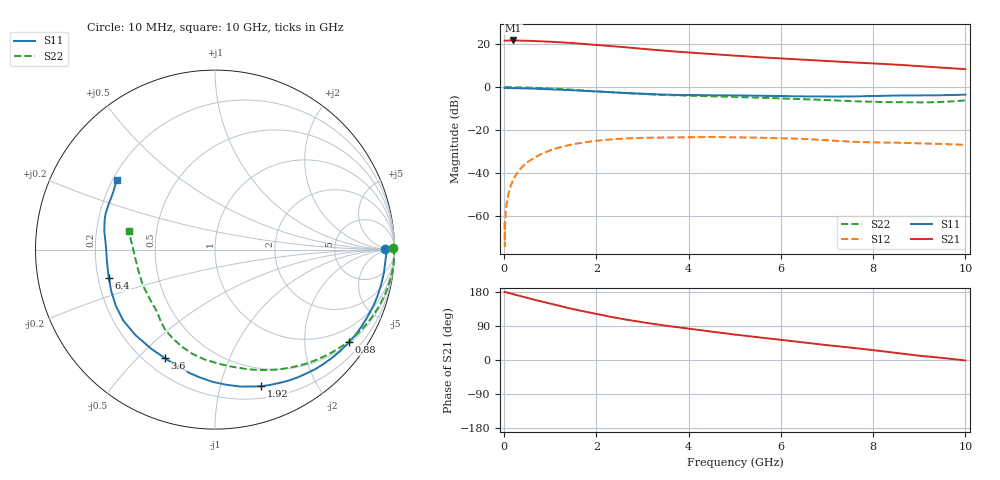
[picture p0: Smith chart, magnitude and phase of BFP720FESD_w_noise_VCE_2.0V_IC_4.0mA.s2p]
! Infineon Technologies  Discrete & RF Semiconductors
! BFP720FESD
! VCE =  2.0 V,  IC =  4.0 mA
! Common Emitter S-Parameters:  Jan 2016
# GHz  S  MA  R  50
!  f  S11  S21  S12  S22
! GHz  MAG  ANG  MAG  ANG  MAG  ANG  MAG  ANG
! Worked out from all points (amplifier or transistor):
!   233 points, 10 MHz to 10 GHz, reference 50 ohm
!   highest |S21| = 21.7 dB at 200 MHz (marker M1)
!   |S21| within 3 dB of that: start of sweep to 2.537 GHz
!   unconditionally stable (mu >= 1): 14.84 MHz to 15.05 MHz; 7.4 GHz to end of sweep
!   at 200 MHz: K = 0.01, MSG = 32.4 dB, |S12| = -43.0 dB
!   at 1.74 GHz: K = 0.16, MSG = 22.9 dB, |S12| = -25.7 dB
!   at 10 GHz: K = 1.54, MAG = 13.3 dB, |S12| = -26.8 dB
!   lowest NFmin = 0.48 dB at 450 MHz
!   S11 on the Smith chart (normalised r, x): 10 MHz: 37, +4; 880 MHz: 0.54, -3.14; 1.92 GHz: 0.31, -1.35; 3.6 GHz: 0.28, -0.60; 6.4 GHz: 0.24, -0.12; 10 GHz: 0.22, +0.30
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0.01  0.9479 0.3  12.16 179.7  0.0007 -47.3  0.9941 0.6
0.015  0.9493 -0.3  12.14 179.6  0.0002 21.8  0.9962 0.0
0.02  0.9509 -0.9  12.12 179.5  0.0007 90.9  0.9983 -0.5
0.055  0.954 -1.9  12.12 178.2  0.002 91.3  0.9988 -1.5
0.2  0.9498 -7.9  12.22 173.7  0.0071 84.7  0.9965 -5.7
0.5  0.9357 -19.8  12.04 164.0  0.0177 77.1  0.9811 -14.2
0.88  0.9071 -34.5  11.6 152.3  0.0303 67.2  0.947 -24.6
1.3  0.8686 -50.2  10.97 139.9  0.0423 56.7  0.8968 -35.9
1.68  0.8276 -63.4  10.29 129.4  0.0509 47.7  0.8446 -45.5
1.92  0.8036 -71.2  9.818 123.3  0.0554 42.7  0.8131 -51.3
2.36  0.7587 -84.2  8.984 112.8  0.0615 34.2  0.7595 -61.3
2.7  0.726 -93.9  8.352 105.4  0.0647 28.2  0.7211 -68.5
3  0.7021 -101.7  7.821 99.3  0.0665 23.4  0.6925 -74.4
3.4  0.6745 -110.4  7.168 92.4  0.0674 18.6  0.6643 -80.4
3.6  0.6659 -114.7  6.892 89.1  0.0679 16.4  0.6533 -83.2
4.5  0.6505 -132.9  5.909 74.8  0.0693 7.5  0.6148 -95.4
5.1  0.6431 -143.8  5.33 65.8  0.0683 2.0  0.5896 -103.4
6.4  0.6122 -164.9  4.428 47.6  0.063 -7.9  0.5315 -120.1
6.8  0.6061 -171.4  4.184 42.1  0.0598 -10.1  0.5114 -124.7
8.4  0.6378 164.3  3.396 20.2  0.0514 -9.0  0.4492 -151.1
9  0.6445 156.5  3.1 11.3  0.0495 -9.4  0.4429 -166.8
10  0.6705 144.9  2.627 -1.3  0.0456 -7.3  0.4922 167.9
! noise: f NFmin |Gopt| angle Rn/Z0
0.45  0.48  0.63  3  0.17
2.4  0.67  0.42  32  0.16
5.5  0.83  0.43  107  0.11
10  1.44  0.35  -164  0.09
